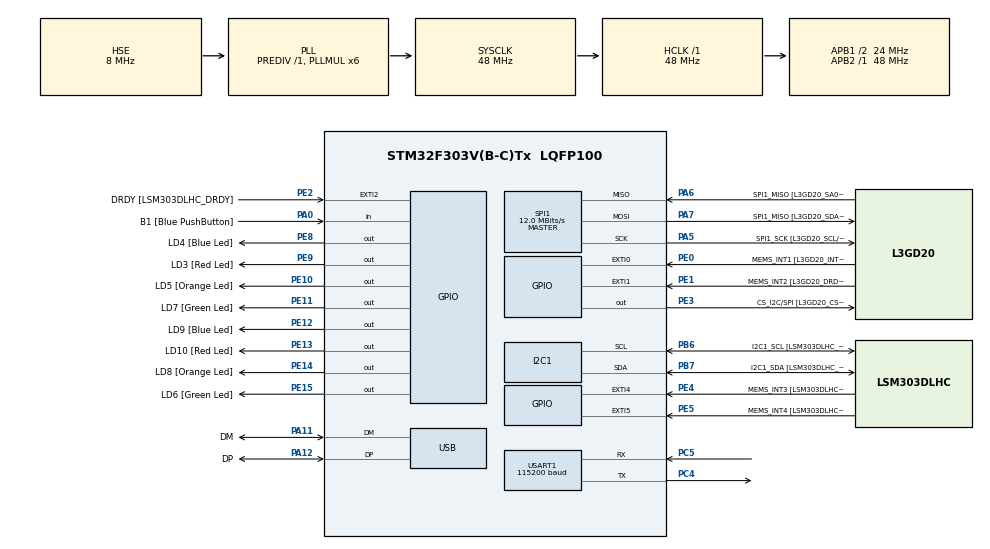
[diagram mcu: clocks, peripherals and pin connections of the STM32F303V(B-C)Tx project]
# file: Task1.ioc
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I2C1.Timing=0x2000090E
I2C1.Timing-I2C=0x2000090E
Mcu.Family=STM32F3
Mcu.Name=STM32F303V(B-C)Tx
Mcu.Package=LQFP100
NVIC.PriorityGroup=NVIC_PRIORITYGROUP_0
NVIC.USB_LP_CAN_RX0_IRQn=true\:0\:0\:false\:false\:true\:false\:true\:true
PA0.GPIO_Label=B1 [Blue PushButton]
PA0.Signal=GPIO_Input
PA11.GPIO_Label=DM
PA11.Mode=Device
PA11.Signal=USB_DM
PA12.GPIO_Label=DP
PA12.Mode=Device
PA12.Signal=USB_DP
PA13.GPIO_Label=SWDIO
PA13.Mode=Serial_Wire
PA13.Signal=SYS_JTMS-SWDIO
PA14.GPIO_Label=SWCLK
PA14.Mode=Serial_Wire
PA14.Signal=SYS_JTCK-SWCLK
PA5.GPIO_Label=SPI1_SCK [L3GD20_SCL/SPC]
PA5.Mode=Full_Duplex_Master
PA5.Signal=SPI1_SCK
PA6.GPIO_Label=SPI1_MISO [L3GD20_SA0/SDO]
PA6.Mode=Full_Duplex_Master
PA6.Signal=SPI1_MISO
PA7.GPIO_Label=SPI1_MISO [L3GD20_SDA/SDI/SDO]
PA7.Mode=Full_Duplex_Master
PA7.Signal=SPI1_MOSI
PB3.GPIO_Label=SWO
PB3.Signal=SYS_JTDO-TRACESWO
PB6.GPIO_Label=I2C1_SCL [LSM303DLHC_SCL]
PB6.GPIO_Pu=GPIO_PULLUP
PB6.Mode=I2C
PB6.Signal=I2C1_SCL
PB7.GPIO_Label=I2C1_SDA [LSM303DLHC_SDA]
PB7.GPIO_Pu=GPIO_PULLUP
PB7.Mode=I2C
PB7.Signal=I2C1_SDA
PC14-OSC32_IN.GPIO_Label=OSC32_IN
PC14-OSC32_IN.Signal=RCC_OSC32_IN
PC15-OSC32_OUT.GPIO_Label=OSC32_OUT
PC15-OSC32_OUT.Signal=RCC_OSC32_OUT
PC4.Mode=Asynchronous
PC4.Signal=USART1_TX
PC5.Mode=Asynchronous
PC5.Signal=USART1_RX
PE0.GPIO_Label=MEMS_INT1 [L3GD20_INT1]
PE0.GPIO_ModeDefaultEXTI=GPIO_MODE_EVT_RISING
PE0.Signal=GPXTI0
PE1.GPIO_Label=MEMS_INT2 [L3GD20_DRDY/INT2]
PE1.GPIO_ModeDefaultEXTI=GPIO_MODE_EVT_RISING
PE1.Signal=GPXTI1
PE10.GPIO_Label=LD5 [Orange Led]
PE10.Signal=GPIO_Output
PE11.GPIO_Label=LD7 [Green Led]
PE11.Signal=GPIO_Output
PE12.GPIO_Label=LD9 [Blue Led]
PE12.Signal=GPIO_Output
PE13.GPIO_Label=LD10 [Red Led]
PE13.Signal=GPIO_Output
PE14.GPIO_Label=LD8 [Orange Led]
PE14.Signal=GPIO_Output
PE15.GPIO_Label=LD6 [Green Led]
PE15.Signal=GPIO_Output
PE2.GPIO_Label=DRDY [LSM303DLHC_DRDY]
PE2.GPIO_ModeDefaultEXTI=GPIO_MODE_EVT_RISING
PE2.Signal=GPXTI2
PE3.GPIO_Label=CS_I2C/SPI [L3GD20_CS_I2C/SPI]
PE3.Signal=GPIO_Output
PE4.GPIO_Label=MEMS_INT3 [LSM303DLHC_INT1]
PE4.GPIO_ModeDefaultEXTI=GPIO_MODE_EVT_RISING
PE4.Signal=GPXTI4
PE5.GPIO_Label=MEMS_INT4 [LSM303DLHC_INT2]
PE5.GPIO_ModeDefaultEXTI=GPIO_MODE_EVT_RISING
PE5.Signal=GPXTI5
PE8.GPIO_Label=LD4 [Blue Led]
PE8.Signal=GPIO_Output
PE9.GPIO_Label=LD3 [Red Led]
PE9.Signal=GPIO_Output
PF0-OSC_IN.GPIO_Label=OSC_IN
PF0-OSC_IN.Mode=HSE-External-Clock-Source
PF0-OSC_IN.Signal=RCC_OSC_IN
PF1-OSC_OUT.GPIO_Label=OSC_OUT
PF1-OSC_OUT.Signal=RCC_OSC_OUT
ProjectManager.HeapSize=0x200
ProjectManager.StackSize=0x400
ProjectManager.TargetToolchain=CMake
RCC.AHBFreq_Value=48000000
RCC.APB1CLKDivider=RCC_HCLK_DIV2
RCC.APB1Freq_Value=24000000
RCC.APB1TimFreq_Value=48000000
RCC.APB2Freq_Value=48000000
RCC.APB2TimFreq_Value=48000000
RCC.CortexFreq_Value=48000000
RCC.HCLKFreq_Value=48000000
RCC.HSE_VALUE=8000000
RCC.HSI_VALUE=8000000
RCC.LSE_VALUE=32768
RCC.PLLMUL=RCC_PLL_MUL6
RCC.SYSCLKFreq_VALUE=48000000
RCC.SYSCLKSourceVirtual=RCC_SYSCLKSOURCE_PLLCLK
RCC.USBFreq_Value=48000000
SPI1.BaudRatePrescaler=SPI_BAUDRATEPRESCALER_4
SPI1.BaudRatePrescaler-Full_Duplex_Master=SPI_BAUDRATEPRESCALER_2
SPI1.CalculateBaudRate=12.0 MBits/s
SPI1.CalculateBaudRate-Full_Duplex_Master=24.0 MBits/s
SPI1.Direction=SPI_DIRECTION_2LINES
SPI1.Mode=SPI_MODE_MASTER
SPI1.Mode-Full_Duplex_Master=SPI_MODE_MASTER
SPI1.VirtualType=VM_MASTER
USART1.BaudRate=115200
USART1.VirtualMode-Asynchronous=VM_ASYNC
USB_DEVICE.CLASS_NAME_FS=CDC
USB_DEVICE.VirtualMode=Cdc
USB_DEVICE.VirtualModeFS=Cdc_FS
VP_USB_DEVICE_VS_USB_DEVICE_CDC_FS.Mode=CDC_FS
board=STM32F3DISCOVERY

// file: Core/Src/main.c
/* USER CODE BEGIN Header */
/**
  ******************************************************************************
  * @file           : main.c
  * @brief          : Main program body
  ******************************************************************************
  * @attention
  *
  * Copyright (c) 2026 STMicroelectronics.
  * All rights reserved.
  *
  * This software is licensed under terms that can be found in the LICENSE file
  * in the root directory of this software component.
  * If no LICENSE file comes with this software, it is provided AS-IS.
  *
  ******************************************************************************
  */
/* USER CODE END Header */
#include "main.h"
#include "usb_device.h"

/* USER CODE BEGIN Includes */
#include <stdlib.h>
#include <string.h>
#include <stdio.h>
/* USER CODE END Includes */

/* USER CODE BEGIN PD */
#define n 10
/* USER CODE END PD */

I2C_HandleTypeDef hi2c1;

SPI_HandleTypeDef hspi1;

UART_HandleTypeDef huart1;

void SystemClock_Config(void);
static void MX_GPIO_Init(void);
static void MX_I2C1_Init(void);
static void MX_SPI1_Init(void);
static void MX_USART1_UART_Init(void);
/* USER CODE BEGIN PFP */
void UART_Print(const char *msg);
/* USER CODE END PFP */

/* USER CODE BEGIN 0 */
void UART_Print(const char *msg) {
  HAL_UART_Transmit(&huart1, (uint8_t *)msg, strlen(msg), HAL_MAX_DELAY);
}
/* USER CODE END 0 */

int main(void)
{

  /* MCU Configuration--------------------------------------------------------*/

  /* Reset of all peripherals, Initializes the Flash interface and the Systick. */
  HAL_Init();

  /* Configure the system clock */
  SystemClock_Config();

  /* Initialize all configured peripherals */
  MX_GPIO_Init();
  MX_I2C1_Init();
  MX_SPI1_Init();
  MX_USART1_UART_Init();
  MX_USB_DEVICE_Init();
  /* USER CODE BEGIN 2 */

  HAL_Delay(100);

  char msg[100];
  int *malloc_array = NULL;
  int *calloc_array = NULL;

  UART_Print("\r\nMemory Allocation using malloc():\r\n");
  malloc_array = (int *)malloc(n * sizeof(int));

  if (malloc_array == NULL) {
    UART_Print("Failed\r\n");
  }
  else {
    UART_Print("Success\r\n");
    for (int i = 0; i < n; i++) {
      malloc_array[i] = i * 2;
    }
  }

  UART_Print("\r\n\nMemory Allocation using calloc():\r\n");
  calloc_array = (int *)calloc(n, sizeof(int));

  if (calloc_array == NULL) {
    UART_Print("Failed\r\n");
  }
  else {
    UART_Print("Success\r\n");
    int all_zero = 1;
    for (int i = 0; i < n; i++) {
      if (calloc_array[i] != 0) {
        all_zero = 0;
        break;
      }
    }
    if (all_zero) {
      UART_Print("All elements initialized to zero.\r\n");
    }
    for (int i = 0; i < n; i++) {
      calloc_array[i] = i + 1;
    }
  }

  if (malloc_array != NULL) {
    UART_Print("\r\n\nMalloc array contents:\r\n");
    for (int i = 0; i < n; i++) {
      snprintf(msg, sizeof(msg), "  malloc_array[%d] = %d\r\n", i, malloc_array[i]);
      UART_Print(msg);
    }
  }

  if (calloc_array != NULL) {
    UART_Print("\r\nCalloc array contents:\r\n");
    for (int i = 0; i < n; i++) {
      snprintf(msg, sizeof(msg), "  calloc_array[%d] = %d\r\n", i, calloc_array[i]);
      UART_Print(msg);
    }
  }

  if (malloc_array != NULL) {
    free(malloc_array);
    UART_Print("\nmalloc() array freed.\r\n");
    malloc_array = NULL;
  }

  if (calloc_array != NULL) {
    free(calloc_array);
    UART_Print("calloc() array freed.\r\n");
    calloc_array = NULL;
  }

  /* USER CODE END 2 */

  /* Infinite loop */
  while (1)
  {

  }
}

void SystemClock_Config(void)
{
  RCC_OscInitTypeDef RCC_OscInitStruct = {0};
  RCC_ClkInitTypeDef RCC_ClkInitStruct = {0};
  RCC_PeriphCLKInitTypeDef PeriphClkInit = {0};

  /** Initializes the RCC Oscillators according to the specified parameters
  * in the RCC_OscInitTypeDef structure.
  */
  RCC_OscInitStruct.OscillatorType = RCC_OSCILLATORTYPE_HSI|RCC_OSCILLATORTYPE_HSE;
  RCC_OscInitStruct.HSEState = RCC_HSE_BYPASS;
  RCC_OscInitStruct.HSEPredivValue = RCC_HSE_PREDIV_DIV1;
  RCC_OscInitStruct.HSIState = RCC_HSI_ON;
  RCC_OscInitStruct.HSICalibrationValue = RCC_HSICALIBRATION_DEFAULT;
  RCC_OscInitStruct.PLL.PLLState = RCC_PLL_ON;
  RCC_OscInitStruct.PLL.PLLSource = RCC_PLLSOURCE_HSE;
  RCC_OscInitStruct.PLL.PLLMUL = RCC_PLL_MUL6;
  if (HAL_RCC_OscConfig(&RCC_OscInitStruct) != HAL_OK)
  {
    Error_Handler();
  }

  /** Initializes the CPU, AHB and APB buses clocks
  */
  RCC_ClkInitStruct.ClockType = RCC_CLOCKTYPE_HCLK|RCC_CLOCKTYPE_SYSCLK
                              |RCC_CLOCKTYPE_PCLK1|RCC_CLOCKTYPE_PCLK2;
  RCC_ClkInitStruct.SYSCLKSource = RCC_SYSCLKSOURCE_PLLCLK;
  RCC_ClkInitStruct.AHBCLKDivider = RCC_SYSCLK_DIV1;
  RCC_ClkInitStruct.APB1CLKDivider = RCC_HCLK_DIV2;
  RCC_ClkInitStruct.APB2CLKDivider = RCC_HCLK_DIV1;

  if (HAL_RCC_ClockConfig(&RCC_ClkInitStruct, FLASH_LATENCY_1) != HAL_OK)
  {
    Error_Handler();
  }
  PeriphClkInit.PeriphClockSelection = RCC_PERIPHCLK_USB|RCC_PERIPHCLK_USART1
                              |RCC_PERIPHCLK_I2C1;
  PeriphClkInit.Usart1ClockSelection = RCC_USART1CLKSOURCE_PCLK2;
  PeriphClkInit.I2c1ClockSelection = RCC_I2C1CLKSOURCE_HSI;
  PeriphClkInit.USBClockSelection = RCC_USBCLKSOURCE_PLL;
  if (HAL_RCCEx_PeriphCLKConfig(&PeriphClkInit) != HAL_OK)
  {
    Error_Handler();
  }
}

static void MX_I2C1_Init(void)
{

  hi2c1.Instance = I2C1;
  hi2c1.Init.Timing = 0x2000090E;
  hi2c1.Init.OwnAddress1 = 0;
  hi2c1.Init.AddressingMode = I2C_ADDRESSINGMODE_7BIT;
  hi2c1.Init.DualAddressMode = I2C_DUALADDRESS_DISABLE;
  hi2c1.Init.OwnAddress2 = 0;
  hi2c1.Init.OwnAddress2Masks = I2C_OA2_NOMASK;
  hi2c1.Init.GeneralCallMode = I2C_GENERALCALL_DISABLE;
  hi2c1.Init.NoStretchMode = I2C_NOSTRETCH_DISABLE;
  if (HAL_I2C_Init(&hi2c1) != HAL_OK)
  {
    Error_Handler();
  }

  /** Configure Analogue filter
  */
  if (HAL_I2CEx_ConfigAnalogFilter(&hi2c1, I2C_ANALOGFILTER_ENABLE) != HAL_OK)
  {
    Error_Handler();
  }

  /** Configure Digital filter
  */
  if (HAL_I2CEx_ConfigDigitalFilter(&hi2c1, 0) != HAL_OK)
  {
    Error_Handler();
  }

}

static void MX_SPI1_Init(void)
{

  /* SPI1 parameter configuration*/
  hspi1.Instance = SPI1;
  hspi1.Init.Mode = SPI_MODE_MASTER;
  hspi1.Init.Direction = SPI_DIRECTION_2LINES;
  hspi1.Init.DataSize = SPI_DATASIZE_4BIT;
  hspi1.Init.CLKPolarity = SPI_POLARITY_LOW;
  hspi1.Init.CLKPhase = SPI_PHASE_1EDGE;
  hspi1.Init.NSS = SPI_NSS_SOFT;
  hspi1.Init.BaudRatePrescaler = SPI_BAUDRATEPRESCALER_4;
  hspi1.Init.FirstBit = SPI_FIRSTBIT_MSB;
  hspi1.Init.TIMode = SPI_TIMODE_DISABLE;
  hspi1.Init.CRCCalculation = SPI_CRCCALCULATION_DISABLE;
  hspi1.Init.CRCPolynomial = 7;
  hspi1.Init.CRCLength = SPI_CRC_LENGTH_DATASIZE;
  hspi1.Init.NSSPMode = SPI_NSS_PULSE_ENABLE;
  if (HAL_SPI_Init(&hspi1) != HAL_OK)
  {
    Error_Handler();
  }

}

static void MX_USART1_UART_Init(void)
{

  huart1.Instance = USART1;
  huart1.Init.BaudRate = 115200;
  huart1.Init.WordLength = UART_WORDLENGTH_8B;
  huart1.Init.StopBits = UART_STOPBITS_1;
  huart1.Init.Parity = UART_PARITY_NONE;
  huart1.Init.Mode = UART_MODE_TX_RX;
  huart1.Init.HwFlowCtl = UART_HWCONTROL_NONE;
  huart1.Init.OverSampling = UART_OVERSAMPLING_16;
  huart1.Init.OneBitSampling = UART_ONE_BIT_SAMPLE_DISABLE;
  huart1.AdvancedInit.AdvFeatureInit = UART_ADVFEATURE_NO_INIT;
  if (HAL_UART_Init(&huart1) != HAL_OK)
  {
    Error_Handler();
  }

}

static void MX_GPIO_Init(void)
{
  GPIO_InitTypeDef GPIO_InitStruct = {0};

  /* GPIO Ports Clock Enable */
  __HAL_RCC_GPIOE_CLK_ENABLE();
  __HAL_RCC_GPIOC_CLK_ENABLE();
  __HAL_RCC_GPIOF_CLK_ENABLE();
  __HAL_RCC_GPIOA_CLK_ENABLE();
  __HAL_RCC_GPIOB_CLK_ENABLE();

  /*Configure GPIO pin Output Level */
  HAL_GPIO_WritePin(GPIOE, CS_I2C_SPI_Pin|LD4_Pin|LD3_Pin|LD5_Pin
                          |LD7_Pin|LD9_Pin|LD10_Pin|LD8_Pin
                          |LD6_Pin, GPIO_PIN_RESET);

  /*Configure GPIO pins : DRDY_Pin MEMS_INT3_Pin MEMS_INT4_Pin MEMS_INT1_Pin
                           MEMS_INT2_Pin */
  GPIO_InitStruct.Pin = DRDY_Pin|MEMS_INT3_Pin|MEMS_INT4_Pin|MEMS_INT1_Pin
                          |MEMS_INT2_Pin;
  GPIO_InitStruct.Mode = GPIO_MODE_EVT_RISING;
  GPIO_InitStruct.Pull = GPIO_NOPULL;
  HAL_GPIO_Init(GPIOE, &GPIO_InitStruct);

  /*Configure GPIO pins : CS_I2C_SPI_Pin LD4_Pin LD3_Pin LD5_Pin
                           LD7_Pin LD9_Pin LD10_Pin LD8_Pin
                           LD6_Pin */
  GPIO_InitStruct.Pin = CS_I2C_SPI_Pin|LD4_Pin|LD3_Pin|LD5_Pin
                          |LD7_Pin|LD9_Pin|LD10_Pin|LD8_Pin
                          |LD6_Pin;
  GPIO_InitStruct.Mode = GPIO_MODE_OUTPUT_PP;
  GPIO_InitStruct.Pull = GPIO_NOPULL;
  GPIO_InitStruct.Speed = GPIO_SPEED_FREQ_LOW;
  HAL_GPIO_Init(GPIOE, &GPIO_InitStruct);

  /*Configure GPIO pin : B1_Pin */
  GPIO_InitStruct.Pin = B1_Pin;
  GPIO_InitStruct.Mode = GPIO_MODE_INPUT;
  GPIO_InitStruct.Pull = GPIO_NOPULL;
  HAL_GPIO_Init(B1_GPIO_Port, &GPIO_InitStruct);

}

void Error_Handler(void)
{
  __disable_irq();
  while (1)
  {
  }
}
